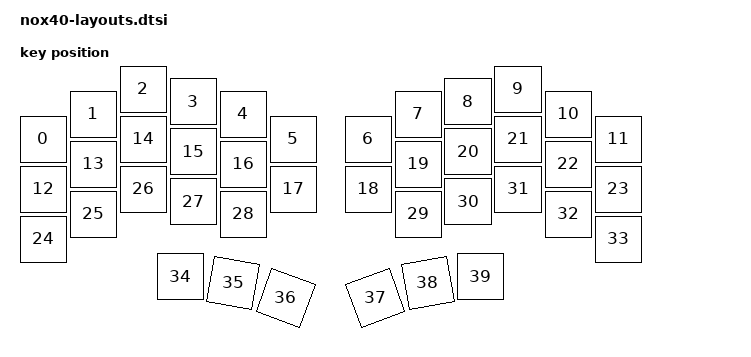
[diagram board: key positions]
#include <physical_layouts.dtsi>

/ {
    nox40_default_layout: nox40_default_layout {
        compatible = "zmk,physical-layout";
        display-name = "Nox40";
        transform = <&default_transform>;
        kscan = <&kscan0>;

        keys  //                     w   h    x    y     rot    rx    ry
            = <&key_physical_attrs 100 100    0  100       0     0     0>
            , <&key_physical_attrs 100 100  100   50       0     0     0>
            , <&key_physical_attrs 100 100  200    0       0     0     0>
            , <&key_physical_attrs 100 100  300   25       0     0     0>
            , <&key_physical_attrs 100 100  400   50       0     0     0>
            , <&key_physical_attrs 100 100  500  100       0     0     0>
            , <&key_physical_attrs 100 100  650  100       0     0     0>
            , <&key_physical_attrs 100 100  750   50       0     0     0>
            , <&key_physical_attrs 100 100  850   25       0     0     0>
            , <&key_physical_attrs 100 100  950    0       0     0     0>
            , <&key_physical_attrs 100 100 1050   50       0     0     0>
            , <&key_physical_attrs 100 100 1150  100       0     0     0>
            , <&key_physical_attrs 100 100    0  200       0     0     0>
            , <&key_physical_attrs 100 100  100  150       0     0     0>
            , <&key_physical_attrs 100 100  200  100       0     0     0>
            , <&key_physical_attrs 100 100  300  125       0     0     0>
            , <&key_physical_attrs 100 100  400  150       0     0     0>
            , <&key_physical_attrs 100 100  500  200       0     0     0>
            , <&key_physical_attrs 100 100  650  200       0     0     0>
            , <&key_physical_attrs 100 100  750  150       0     0     0>
            , <&key_physical_attrs 100 100  850  125       0     0     0>
            , <&key_physical_attrs 100 100  950  100       0     0     0>
            , <&key_physical_attrs 100 100 1050  150       0     0     0>
            , <&key_physical_attrs 100 100 1150  200       0     0     0>
            , <&key_physical_attrs 100 100    0  300       0     0     0>
            , <&key_physical_attrs 100 100  100  250       0     0     0>
            , <&key_physical_attrs 100 100  200  200       0     0     0>
            , <&key_physical_attrs 100 100  300  225       0     0     0>
            , <&key_physical_attrs 100 100  400  250       0     0     0>
            , <&key_physical_attrs 100 100  750  250       0     0     0>
            , <&key_physical_attrs 100 100  850  225       0     0     0>
            , <&key_physical_attrs 100 100  950  200       0     0     0>
            , <&key_physical_attrs 100 100 1050  250       0     0     0>
            , <&key_physical_attrs 100 100 1150  300       0     0     0>
            , <&key_physical_attrs 100 100  275  375       0     0     0>
            , <&key_physical_attrs 100 100  375  400    1000   500   475>
            , <&key_physical_attrs 100 100  475  425    2000   550   500>
            , <&key_physical_attrs 100 100  675  425 (-2000)   700   500>
            , <&key_physical_attrs 100 100  775  400 (-1000)   750   475>
            , <&key_physical_attrs 100 100  875  375       0     0     0>
            ;
    };

};
